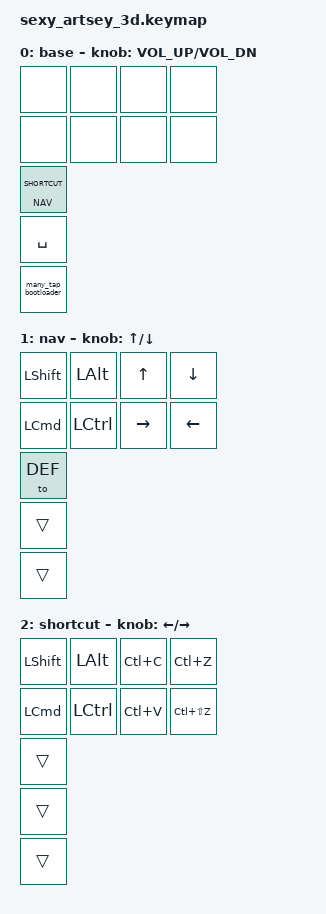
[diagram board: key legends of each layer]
/*
 * Copyright (c) 2022 The ZMK Contributors
 *
 * SPDX-License-Identifier: MIT
 */

#include <behaviors.dtsi>
#include <dt-bindings/zmk/keys.h>
#include <dt-bindings/zmk/bt.h>
#include "../../../../zmk-nodefree-config/helper.h"
// https://github.com/urob/zmk-nodefree-config

&left_encoder {
    status = "okay";
};

// CONFIG
#define COMBO_TIMEOUT 70
#define COMBO_LAYERS 0
#define STICKY_TIMEOUT 500

// LEFT SIDE
#define TLI 3 // TOP INDEX
#define TLM 2 // TOP MIDDLE
#define TLR 1 // TOP RING
#define TLP 0 // TOP PINKY
#define BLI 7 // BOTTOM INDEX
#define BLM 6 // BOTTOM MIDDLE
#define BLR 5 // BOTTOM RING
#define BLP 4 // BOTTOM PINKY
#define LOT 9 // O-THUMB
#define LIT 8 // I-THUMB

&sk {
  release-after-ms = <STICKY_TIMEOUT>;
  quick-release;
};

#define DEF 0
#define NAV 1
#define SHORTCUT 2

// tap ctrl many times for bootloader
ZMK_BEHAVIOR(many_tap_bootloader, tap_dance,
    tapping-term-ms = <200>;
    bindings = <&m_reset>, <&none>, <&bootloader>;
)

// tap shift twice for capsword
ZMK_BEHAVIOR(dt_capsword, tap_dance,
    tapping-term-ms = <200>;
    bindings = <&kp RSHIFT>, <&caps_word>;
)

// layer hold tap slow for nav/shortcut
ZMK_BEHAVIOR(mt_s, hold_tap,
    flavor = "balanced";
    tapping-term-ms = <100>;
    global-quick-tap;
    quick-tap-ms = <100>;
    bindings = <&mo>, <&to>;
)

// ZMK_COMBO(lay_nav,      &to NAV,           LIT,              DEF)
// ZMK_COMBO(thumb_space,  &kp SPACE,         LOT,              DEF)
ZMK_COMBO(mod_reset,    &m_release_mods,   BLP BLR BLM BLI,  DEF)

/ {
  combos {
    compatible = "zmk,combos";
    #include "taipo.dtsi"
  };

  macros {
    m_release_mods: m_release_mods {
      compatible = "zmk,behavior-macro";
      #binding-cells = <0>;
      bindings =
        <&macro_release &kp LSHFT>,
        <&macro_release &kp LALT>,
        <&macro_release &kp LEFT_GUI>,
        <&macro_release &kp LCTRL>,
        <&macro_release &kp RSHFT>,
        <&macro_release &kp RALT>,
        <&macro_release &kp RIGHT_GUI>,
        <&macro_release &kp RCTRL>;
    };

    m_reset: m_reset {
      compatible = "zmk,behavior-macro";
      #binding-cells = <0>;
      bindings =
        <&m_release_mods>,
        <&to DEF>;
    };
  };

  keymap {
    compatible = "zmk,keymap";

    base {
      bindings = <
        &none       &none        &none         &none
        &none       &none        &none         &none
        &mt_s NAV SHORTCUT  // inner thumb
        &kp SPACE   // outer thumb
        &many_tap_bootloader  // encoder push
      >;
      sensor-bindings = <&inc_dec_kp C_VOL_UP C_VOL_DN>;
    };

    nav {
      bindings = <
        &kp LSHIFT    &kp LALT      &kp UP        &kp DOWN
        &kp LCMD      &kp LCTRL     &kp RIGHT     &kp LEFT
        &to DEF       &trans        &trans
      >;
      sensor-bindings = <&inc_dec_kp UP DOWN>;
    };

    shortcut {
      bindings = <
        &kp LSHIFT    &kp LALT      &kp LC(C)      &kp LC(Z)
        &kp LCMD      &kp LCTRL     &kp LC(V)      &kp LC(LS(Z))
        &trans        &trans        &trans
      >;
      sensor-bindings = <&inc_dec_kp LEFT RIGHT>;
    };
  };
};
